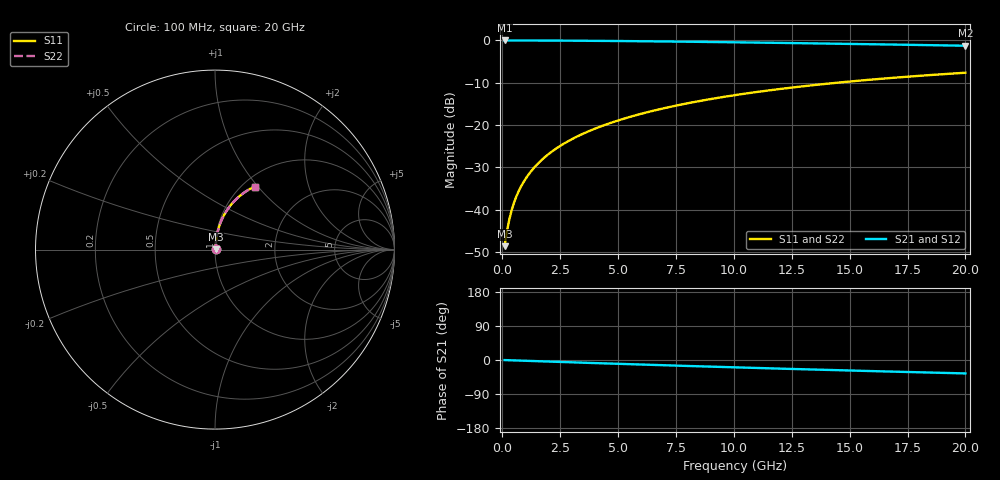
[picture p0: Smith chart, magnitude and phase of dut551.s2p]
! Touchstone file exported from HFSS 2024.1.0
!  File:  C:/UserFiles/LocalFiles/RDL_TSV_Batchsim/temp_RDL_bottom_551_1779689372.aedt
!  Generated:  02:12:21 PM May 25, 2026
!  Design:  RDL_bottom
!  Project:  temp_RDL_bottom_551_1779689372
!  Setup:  Setup1
!  Solution:  Sweep
! Variables:
!  dtsv = 10.80580581um
!  hbump = 3um
!  htsv = 96.78um
!  ldown = 412.47um
!  lrdl = 100um
!  p = 40
!  p1 = 59.57um
!  rhole = 1um
!  t = 450um
!  tdown = 3.54um
!  trdl = 3.915915916um
!  wdown = 15.19um
!  wrdl = 20um
# GHz S MA R 50.000000
! Terminal data exported
! Port[1] = RDL1_T1
! Port[2] = RDL1_T2
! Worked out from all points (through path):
!   200 points, 100 MHz to 20 GHz, reference 50 ohm
!   highest |S21| = -0.02 dB at 100 MHz (marker M1); lowest = -1.3 dB at 20 GHz (marker M2)
!   group delay of S21, straight-line fit = 4.91 ps
!   lowest |S11| = -48.6 dB at 100 MHz (marker M3), VSWR 1.01, Z = 50.3 + j0.236 ohm
!   |S11| at or under -10 dB: start of sweep to 14.48 GHz
!   |S22| runs from -48.6 to -7.7 dB; largest |S21 - S12| = 3.7e-15
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0.1  0.003697 39.4  0.9971 -0.2  0.9971 -0.2  0.003697 39.4
! Gamma 0 0 0 0
! Port Impedance 50 0 50 0
0.2  0.005511 57.9  0.9971 -0.4  0.9971 -0.4  0.005511 57.9
0.3  0.007591 66.5  0.997 -0.6  0.997 -0.6  0.007591 66.5
0.4  0.009747 71.3  0.9969 -0.8  0.9969 -0.8  0.009747 71.3
0.5  0.01193 74.3  0.9967 -1.0  0.9967 -1.0  0.01193 74.3
0.6  0.01412 76.3  0.9966 -1.2  0.9966 -1.2  0.01412 76.3
0.8  0.01853 78.9  0.9964 -1.7  0.9964 -1.7  0.01853 78.9
1.1  0.02519 81.0  0.996 -2.3  0.996 -2.3  0.02519 81.0
1.5  0.03412 82.3  0.9953 -3.1  0.9953 -3.1  0.03412 82.3
1.8  0.04084 82.8  0.9946 -3.7  0.9946 -3.7  0.04084 82.8
2.1  0.04758 83.0  0.9939 -4.3  0.9939 -4.3  0.04758 83.0
2.7  0.06108 83.0  0.9922 -5.5  0.9922 -5.5  0.06108 83.0
3.5  0.07914 82.5  0.9892 -7.1  0.9892 -7.1  0.07914 82.5
4.2  0.09496 81.8  0.9862 -8.5  0.9862 -8.5  0.09496 81.8
5  0.1131 80.9  0.9822 -10.1  0.9822 -10.1  0.113 80.9
5.9  0.1334 79.7  0.9772 -11.8  0.9772 -11.8  0.1334 79.7
6.8  0.1536 78.4  0.9717 -13.5  0.9717 -13.5  0.1536 78.4
8.3  0.187 76.2  0.9616 -16.3  0.9616 -16.3  0.187 76.2
10.1  0.2263 73.3  0.9483 -19.5  0.9483 -19.5  0.2263 73.3
13.4  0.2949 68.0  0.9218 -25.1  0.9218 -25.1  0.2949 68.0
16.7  0.3578 62.8  0.8933 -30.4  0.8933 -30.4  0.3577 62.8
20  0.4143 57.9  0.8639 -35.4  0.8639 -35.4  0.4142 57.9
